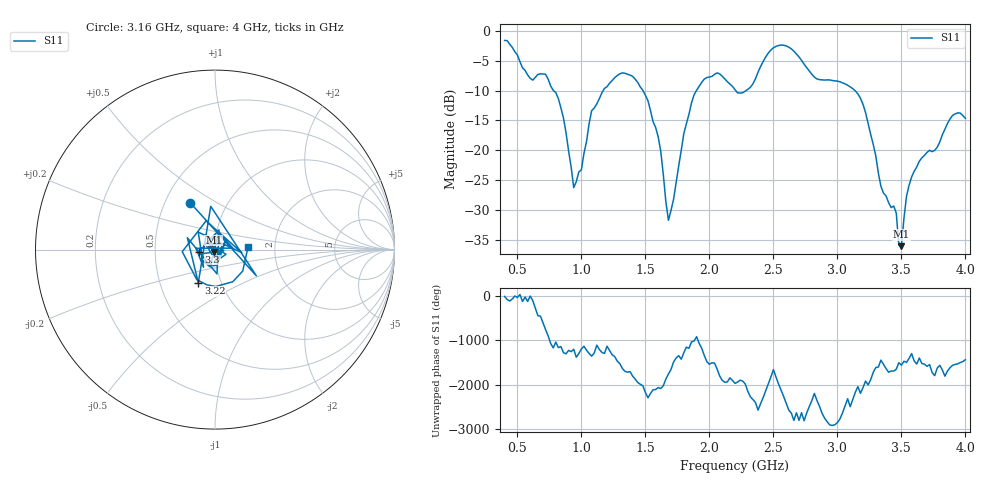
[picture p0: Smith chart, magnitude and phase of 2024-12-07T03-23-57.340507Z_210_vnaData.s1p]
!Created with skrf (http://scikit-rf.org).
# Hz S RI R 50.0
!freq ReS11 ImS11
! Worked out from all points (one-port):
!   181 points, 400 MHz to 4 GHz, reference 50 ohm
!   lowest |S11| = -36.1 dB at 3.5 GHz (marker M1), VSWR 1.03, Z = 49.2 - j1.36 ohm
!   |S11| at or under -10 dB: 781.8 MHz to 1.17 GHz (388.3 MHz wide, 39.8 % of centre); 1.481 GHz to 1.899 GHz (417.4 MHz wide, 24.7 % of centre); 3.137 GHz to end of sweep (the widest 3 of 4)
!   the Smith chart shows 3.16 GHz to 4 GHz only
!   S11 on the Smith chart (normalised r, x): 3.16 GHz: 0.67, +0.38; 3.22 GHz: 0.78, -0.30; 3.3 GHz: 0.84, -0.02; 4 GHz: 1.45, +0.04
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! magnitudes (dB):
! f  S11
! 400 MHz  -1.6
! 600 MHz  -7.9
! 720 MHz  -7.3
! 860 MHz  -14.6
! 940 MHz  -26.3
! 1 GHz  -23.3
! 1.08 GHz  -13.4
! 1.3 GHz  -7.2
! 1.52 GHz  -11.7
! 1.62 GHz  -20.2
! 1.68 GHz  -31.7
! 1.76 GHz  -22.6
! 1.86 GHz  -12.1
! 1.94 GHz  -8.6
! 2.2 GHz  -9.8
! 2.5 GHz  -2.8
! 2.66 GHz  -3.4
! 3.1 GHz  -9.4
! 3.16 GHz  -10.6
! 3.22 GHz  -13.7
! 3.3 GHz  -20.9
! 3.34 GHz  -26.0
! 3.46 GHz  -30.5
! 3.48 GHz  -35.9
! 3.5 GHz  -36.1
! 3.56 GHz  -25.9
! 3.9 GHz  -14.2
! 4 GHz  -14.7
